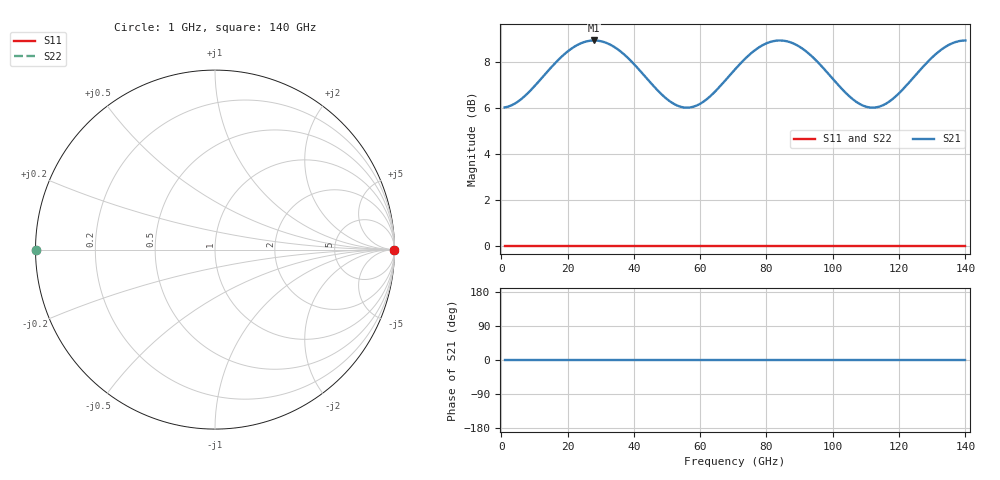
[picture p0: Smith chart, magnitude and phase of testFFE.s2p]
! File created by SignalIntegrity v1.1.14: Signal and Power Integrity Tools
! https://github.com/TeledyneLeCroy/SignalIntegrity
# MHz S MA R 50.0
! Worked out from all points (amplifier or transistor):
!   140 points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, 1 GHz to 140 GHz, reference 50 ohm
!   highest |S21| = 8.9 dB at 28 GHz (marker M1)
!   |S21| within 3 dB of that: start of sweep to end of sweep
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1000  1 0.0  2.003 0.0  0 0.0  1 180.0
7000  1 0.0  2.117 0.0  0 0.0  1 180.0
19000  1 0.0  2.613 0.0  0 0.0  1 180.0
25000  1 0.0  2.778 0.0  0 0.0  1 180.0
28000  1 0.0  2.8 0.0  0 0.0  1 180.0
35000  1 0.0  2.683 0.0  0 0.0  1 180.0
48000  1 0.0  2.151 0.0  0 0.0  1 180.0
54000  1 0.0  2.01 0.0  0 0.0  1 180.0
59000  1 0.0  2.022 0.0  0 0.0  1 180.0
64000  1 0.0  2.151 0.0  0 0.0  1 180.0
71000  1 0.0  2.445 0.0  0 0.0  1 180.0
78000  1 0.0  2.713 0.0  0 0.0  1 180.0
83000  1 0.0  2.797 0.0  0 0.0  1 180.0
88000  1 0.0  2.76 0.0  0 0.0  1 180.0
94000  1 0.0  2.574 0.0  0 0.0  1 180.0
102000  1 0.0  2.226 0.0  0 0.0  1 180.0
107000  1 0.0  2.061 0.0  0 0.0  1 180.0
112000  1 0.0  2 0.0  0 0.0  1 180.0
117000  1 0.0  2.061 0.0  0 0.0  1 180.0
121000  1 0.0  2.187 0.0  0 0.0  1 180.0
133000  1 0.0  2.683 0.0  0 0.0  1 180.0
140000  1 0.0  2.8 0.0  0 0.0  1 180.0
